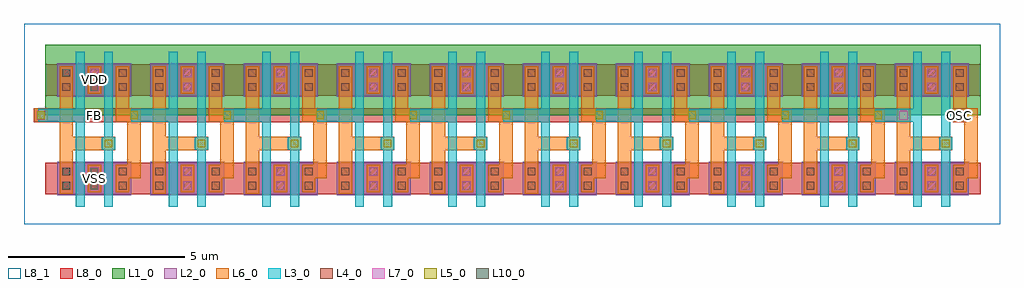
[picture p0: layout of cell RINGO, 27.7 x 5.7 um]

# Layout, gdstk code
import gdstk
lib = gdstk.Library(unit=1e-6, precision=2.5e-09)
def R(c, l, rs):  # rectangles x0, y0, x1, y1
    for r in rs: c.add(gdstk.rectangle(r[:2], r[2:], *l))
def A(c, l, x, y, w, h, nx, ny, dx, dy):  # array of equal rectangles
    R(c, l, [(x+i*dx, y+j*dy, x+i*dx+w, y+j*dy+h) for i in range(nx) for j in range(ny)])
def P(c, l, *ps):  # polygons
    for p in ps: c.add(gdstk.Polygon(p, *l))
L1_0 = (1, 0)
L2_0 = (2, 0)
L3_0 = (3, 0)
L4_0 = (4, 0)
L5_0 = (5, 0)
L6_0 = (6, 0)
L7_0 = (7, 0)
L8_0 = (8, 0)
L8_1 = (8, 1)
L10_0 = (10, 0)

trans = lib.new_cell('TRANS')
R(trans, L2_0, [(-0.65,-0.475,0.65,0.475)])
R(trans, L4_0, [(-0.51,-0.31,-0.29,-0.09), (0.29,-0.31,0.51,-0.09), (-0.51,0.09,-0.29,0.31), (0.29,0.09,0.51,0.31)])
trans.add(gdstk.FlexPath([(0,-0.8),(0,0.8)], 0.25, ends="flush", simple_path=True, layer=3, datatype=0))  # L3_0

c_2vni = lib.new_cell('2VNI')
R(c_2vni, L1_0, [(-1.4,1.8,1.4,3.8)])
R(c_2vni, L3_0, [(-0.525,-0.25,-0.275,2.25), (0.275,-0.25,0.525,2.25), (0.21,0.82,0.59,1.18), (-1.6,1.62,-0.4,1.98)])
R(c_2vni, L5_0, [(0.29,0.89,0.51,1.11), (-1.63,1.69,-1.41,1.91)])
R(c_2vni, L7_0, [(-0.125,-0.325,0.125,-0.075), (-0.125,0.075,0.125,0.325), (-0.125,2.475,0.125,2.725), (-0.125,2.875,0.125,3.125)])
R(c_2vni, L8_0, [(-1.4,-0.45,1.4,0.45), (-1.4,2.35,1.4,3.25)])
c_2vni.add(gdstk.Reference(trans, (-0.4,0)))
c_2vni.add(gdstk.Reference(trans, (-0.4,2.8)))
c_2vni.add(gdstk.Reference(trans, (0.4,0), x_reflection=True))
c_2vni.add(gdstk.Reference(trans, (0.4,2.8), x_reflection=True))
c_2vni.add(gdstk.Label('IN', (-0.8,1.8), layer=3, texttype=1))
c_2vni.add(gdstk.Label('OUT', (0.8,1.8), layer=6, texttype=1))

ringo = lib.new_cell('RINGO')
A(ringo, L6_0, -0.19, -0.39, 0.38, 0.78, 10, 2, 2.64, 2.8)
R(ringo, L6_0, [(-1.71,1.61,-1.33,1.99)])
P(ringo, L6_0, [(-0.99,-0.43),(-0.99,3.19),(-0.61,3.19),(-0.61,1.19),(0.59,1.19),(0.59,0.81),(-0.61,0.81),(-0.61,-0.43)],
  [(0.61,-0.39),(0.61,0.39),(0.93,0.39),(0.93,1.61),(0.61,1.61),(0.61,3.19),(0.99,3.19),(0.99,1.99),(1.31,1.99),(1.31,0.01),(0.99,0.01),(0.99,-0.39)],
  [(1.65,-0.43),(1.65,3.19),(2.03,3.19),(2.03,1.19),(3.23,1.19),(3.23,0.81),(2.03,0.81),(2.03,-0.43)],
  [(3.25,-0.39),(3.25,0.39),(3.57,0.39),(3.57,1.61),(3.25,1.61),(3.25,3.19),(3.63,3.19),(3.63,1.99),(3.95,1.99),(3.95,0.01),(3.63,0.01),(3.63,-0.39)],
  [(4.29,-0.43),(4.29,3.19),(4.67,3.19),(4.67,1.19),(5.87,1.19),(5.87,0.81),(4.67,0.81),(4.67,-0.43)],
  [(5.89,-0.39),(5.89,0.39),(6.21,0.39),(6.21,1.61),(5.89,1.61),(5.89,3.19),(6.27,3.19),(6.27,1.99),(6.59,1.99),(6.59,0.01),(6.27,0.01),(6.27,-0.39)],
  [(6.93,-0.43),(6.93,3.19),(7.31,3.19),(7.31,1.19),(8.51,1.19),(8.51,0.81),(7.31,0.81),(7.31,-0.43)],
  [(8.53,-0.39),(8.53,0.39),(8.85,0.39),(8.85,1.61),(8.53,1.61),(8.53,3.19),(8.91,3.19),(8.91,1.99),(9.23,1.99),(9.23,0.01),(8.91,0.01),(8.91,-0.39)],
  [(9.57,-0.43),(9.57,3.19),(9.95,3.19),(9.95,1.19),(11.15,1.19),(11.15,0.81),(9.95,0.81),(9.95,-0.43)],
  [(11.17,-0.39),(11.17,0.39),(11.49,0.39),(11.49,1.61),(11.17,1.61),(11.17,3.19),(11.55,3.19),(11.55,1.99),(11.87,1.99),(11.87,0.01),(11.55,0.01),(11.55,-0.39)],
  [(12.21,-0.43),(12.21,3.19),(12.59,3.19),(12.59,1.19),(13.79,1.19),(13.79,0.81),(12.59,0.81),(12.59,-0.43)],
  [(13.81,-0.39),(13.81,0.39),(14.13,0.39),(14.13,1.61),(13.81,1.61),(13.81,3.19),(14.19,3.19),(14.19,1.99),(14.51,1.99),(14.51,0.01),(14.19,0.01),(14.19,-0.39)],
  [(14.85,-0.43),(14.85,3.19),(15.23,3.19),(15.23,1.19),(16.43,1.19),(16.43,0.81),(15.23,0.81),(15.23,-0.43)],
  [(16.45,-0.39),(16.45,0.39),(16.77,0.39),(16.77,1.61),(16.45,1.61),(16.45,3.19),(16.83,3.19),(16.83,1.99),(17.15,1.99),(17.15,0.01),(16.83,0.01),(16.83,-0.39)],
  [(17.49,-0.43),(17.49,3.19),(17.87,3.19),(17.87,1.19),(19.07,1.19),(19.07,0.81),(17.87,0.81),(17.87,-0.43)],
  [(19.09,-0.39),(19.09,0.39),(19.41,0.39),(19.41,1.61),(19.09,1.61),(19.09,3.19),(19.47,3.19),(19.47,1.99),(19.79,1.99),(19.79,0.01),(19.47,0.01),(19.47,-0.39)],
  [(20.13,-0.43),(20.13,3.19),(20.51,3.19),(20.51,1.19),(21.71,1.19),(21.71,0.81),(20.51,0.81),(20.51,-0.43)],
  [(21.73,-0.39),(21.73,0.39),(22.05,0.39),(22.05,1.61),(21.73,1.61),(21.73,3.19),(22.11,3.19),(22.11,1.99),(22.43,1.99),(22.43,0.01),(22.11,0.01),(22.11,-0.39)],
  [(22.77,-0.43),(22.77,3.19),(23.15,3.19),(23.15,1.19),(24.35,1.19),(24.35,0.81),(23.15,0.81),(23.15,-0.43)],
  [(24.37,-0.39),(24.37,0.39),(24.69,0.39),(24.69,1.61),(24.37,1.61),(24.37,3.19),(24.75,3.19),(24.75,1.99),(25.07,1.99),(25.07,0.01),(24.75,0.01),(24.75,-0.39)])
R(ringo, L7_0, [(-1.645,1.675,-1.395,1.925), (22.835,1.675,23.085,1.925), (24.435,1.675,24.685,1.925)])
R(ringo, L8_0, [(-1.72,1.6,23.16,2), (24.36,1.6,24.76,2)])
R(ringo, L8_1, [(-2,-1.3,25.7,4.4)])
R(ringo, L10_0, [(-0.9,-0.3,-0.7,-0.1), (-0.1,-0.3,0.1,-0.1), (-0.9,0.1,-0.7,0.3), (-0.1,0.1,0.1,0.3), (-0.1,2.5,0.1,2.7), (-0.9,2.9,-0.7,3.1)])
ringo.add(gdstk.Reference(c_2vni, (0,0)))
ringo.add(gdstk.Reference(c_2vni, (2.64,0)))
ringo.add(gdstk.Reference(c_2vni, (5.28,0)))
ringo.add(gdstk.Reference(c_2vni, (7.92,0)))
ringo.add(gdstk.Reference(c_2vni, (10.56,0)))
ringo.add(gdstk.Reference(c_2vni, (13.2,0)))
ringo.add(gdstk.Reference(c_2vni, (15.84,0)))
ringo.add(gdstk.Reference(c_2vni, (18.48,0)))
ringo.add(gdstk.Reference(c_2vni, (21.12,0)))
ringo.add(gdstk.Reference(c_2vni, (23.76,0)))
ringo.add(gdstk.Label('OSC', (24.56,1.8), layer=8, texttype=1))
ringo.add(gdstk.Label('FB', (0,1.8), layer=8, texttype=1))
ringo.add(gdstk.Label('VSS', (0,0), layer=8, texttype=1))
ringo.add(gdstk.Label('VDD', (0,2.8), layer=8, texttype=1))

lib.write_gds('RINGO.gds')
